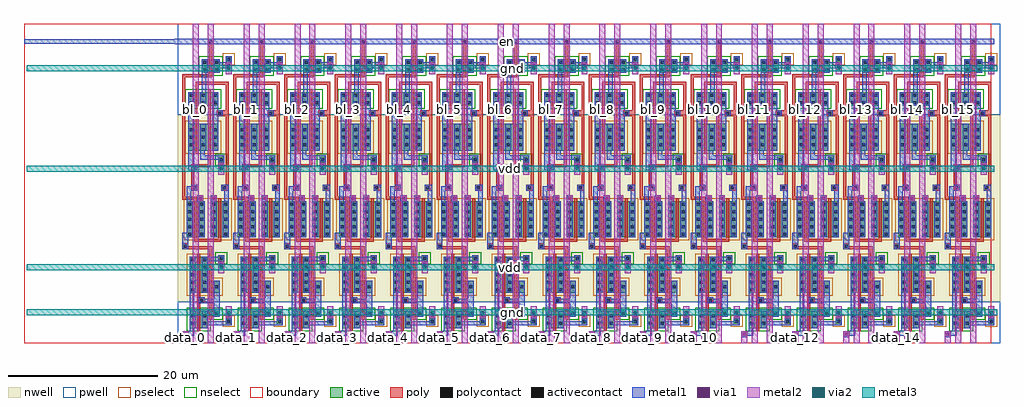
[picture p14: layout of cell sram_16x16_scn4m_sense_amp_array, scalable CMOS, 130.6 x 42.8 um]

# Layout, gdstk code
import gdstk
lib = gdstk.Library(unit=1e-6, precision=1e-09)
def R(c, l, rs):  # rectangles x0, y0, x1, y1
    for r in rs: c.add(gdstk.rectangle(r[:2], r[2:], *l))
def A(c, l, x, y, w, h, nx, ny, dx, dy):  # array of equal rectangles
    R(c, l, [(x+i*dx, y+j*dy, x+i*dx+w, y+j*dy+h) for i in range(nx) for j in range(ny)])
pwell = (41, 0)
nwell = (42, 0)
active = (43, 0)
pselect = (44, 0)
nselect = (45, 0)
poly = (46, 0)
polycontact = (47, 0)
activecontact = (48, 0)
metal1 = (49, 0)
via1 = (50, 0)
metal2 = (51, 0)
via2 = (61, 0)
metal3 = (62, 0)
boundary = (63, 0)

sense_amp = lib.new_cell('sense_amp')
R(sense_amp, pwell, [(0,0,8,5.6), (0,30.6,8,42.8)])
R(sense_amp, nwell, [(0,5.6,8,30.6)])
R(sense_amp, active, [(1.6,2,4,3.6), (6.4,2.6,7.2,3.4), (1.6,3.6,5.6,4.4), (1.6,6.8,5.6,8.4), (1.6,8.4,4,11.6), (5.4,11,6.2,11.8), (1.2,14.2,3.6,19), (4.4,14.2,6.8,19), (5.4,24.2,6.2,25), (1.4,25.8,5.4,29.4), (1.4,31.8,5.4,33.6), (3.2,36.2,5.6,38), (6.4,37.6,7.2,38.4)])
R(sense_amp, pselect, [(6,2.2,7.6,3.8), (1.2,6.4,6,8.8), (1.2,8.8,4.4,12), (0.8,13.8,7.2,19.4), (1,25.4,5.8,29.8), (6,37.2,7.6,38.8)])
R(sense_amp, nselect, [(1.2,1.6,4.4,3.2), (1.2,3.2,6,4.8), (5,10.6,6.6,12.2), (5,23.8,6.6,25.4), (1,31.4,5.8,34), (2.8,35.8,6,38.4)])
R(sense_amp, poly, [(2.6,1.6,3,5.4), (4.2,3.2,4.6,12.6), (2.6,5.4,3.6,6.2), (2.6,6.2,3,12), (0.6,12.6,4.6,13), (0.6,13,1.4,13.4), (2.2,13.6,5.8,14), (2.2,14,2.6,19.2), (5.4,14,5.8,19.4), (0.6,19.2,2.6,19.6), (0.6,19.6,1,35.6), (1.8,20.4,2.6,21.2), (5.8,20.4,6.8,21.2), (1.8,21.2,2.2,23.2), (6.4,21.2,6.8,30.4), (1.8,23.2,2.6,23.6), (1.8,23.6,4.4,24), (4,24,4.4,34), (2.4,25.4,2.8,34.6), (5.2,30.4,6.8,31.2), (6.4,31.2,6.8,34.6), (2.4,34.6,6.8,35), (0.6,35.6,4.6,36), (4.2,36,4.6,40), (4,40,4.8,40.8)])
R(sense_amp, polycontact, [(3,5.6,3.4,6), (0.8,12.8,1.2,13.2), (2,20.6,2.4,21), (6,20.6,6.4,21), (2,23.4,2.4,23.8), (5.4,30.6,5.8,31), (4.2,40.2,4.6,40.6)])
A(sense_amp, activecontact, 1.8, 7, 0.4, 0.4, 1, 5, 0, 1)
A(sense_amp, activecontact, 3.4, 7, 0.4, 0.4, 1, 5, 0, 1)
A(sense_amp, activecontact, 1.4, 14.4, 0.4, 0.4, 4, 5, 1.6, 1)
A(sense_amp, activecontact, 1.6, 26.4, 0.4, 0.4, 3, 3, 1.6, 1)
A(sense_amp, activecontact, 1.6, 32, 0.4, 0.4, 3, 2, 1.6, 1)
R(sense_amp, activecontact, [(1.8,2.5,2.2,2.9), (3.4,2.5,3.8,2.9), (6.6,2.8,7,3.2), (1.8,3.5,2.2,3.9), (3.4,3.5,3.8,3.9), (5,3.8,5.4,4.2), (5,7.4,5.4,7.8), (5.6,11.2,6,11.6), (5.6,24.4,6,24.8), (3.4,36.4,3.8,36.8), (5,36.4,5.4,36.8), (3.4,37.4,3.8,37.8), (5,37.4,5.4,37.8), (6.6,37.8,7,38.2)])
R(sense_amp, metal1, [(0.6,0.8,1.4,1), (0.6,1,2.2,1.6), (1.6,1.6,2.2,2), (1.6,2,2.4,4.4), (3.2,2,4,2.4), (3.2,2.4,7.2,3), (3.2,3,4,4.4), (6.4,3,7.2,4.2), (4.8,3.6,5.6,5.4), (1.6,4.4,2.2,6.8), (2.8,5.4,5.6,6), (2.8,6,3.6,6.2), (4.8,6,5.6,8.4), (1.6,6.8,2.4,11.6), (3.2,6.8,4,11), (5.4,10.2,6.2,11), (3.2,11,6.2,11.6), (5.4,11.6,6.2,11.8), (0.6,12.6,1.4,14.2), (0.6,14.2,2,14.8), (2.8,14.2,3.6,19), (4.4,14.2,5.2,19.8), (6,14.2,6.8,19), (1.2,14.8,2,19), (1.2,19,1.8,20.4), (2.6,19,3.4,19.8), (6.2,19,6.8,20.4), (1.2,20.4,2.6,21), (5.8,20.4,6.8,21.2), (1.8,21,2.6,21.2), (1.4,23.2,2.6,24), (5.4,23.4,6.2,24.6), (1.4,24,2.2,33.6), (3,24.6,6.2,25.2), (3,25.2,3.6,25.8), (3,25.8,3.8,29.4), (4.6,25.8,5.4,30.4), (4.6,30.4,6,31.2), (4.6,31.2,5.4,33.6), (3,31.8,3.8,33.6), (3.2,33.6,3.8,36.2), (3.2,36.2,4,38), (4.8,36.2,5.6,36.8), (4.8,36.8,7.2,37.6), (4.8,37.6,5.6,38), (6.4,37.6,7.2,38.4), (-0.4,40,7.2,40.8), (-0.4,40,7.2,40.8)])
R(sense_amp, via1, [(0.8,1,1.2,1.4), (6.6,3.6,7,4), (5.6,10.4,6,10.8), (2.8,19.2,3.2,19.6), (4.6,19.2,5,19.6), (5.6,23.6,6,24), (6.6,37,7,37.4)])
R(sense_amp, metal2, [(0.6,0,1.4,1.6), (0.6,0,1.4,1.6), (2,0,2.8,19), (4,0,4.8,19), (6.4,3.4,7.2,5), (6.4,3.4,7.2,5), (5.4,9.4,6.2,11), (5.4,9.4,6.2,11), (2,19,3.4,19.8), (4,19,5.2,19.8), (2,19.8,2.8,42.8), (2,19.8,2.8,42.8), (4,19.8,4.8,42.8), (4,19.8,4.8,42.8), (5.4,22.6,6.2,24.2), (5.4,22.6,6.2,24.2), (6.4,36,7.2,37.6), (6.4,36,7.2,37.6)])
R(sense_amp, boundary, [(0,0,6.8,42.8)])
sense_amp.add(gdstk.Label('dout', (1,0.4), layer=51, texttype=0))
sense_amp.add(gdstk.Label('vdd', (5.8,9.8), layer=51, texttype=0))
sense_amp.add(gdstk.Label('br', (4.4,42.4), layer=51, texttype=0))
sense_amp.add(gdstk.Label('bl', (2.4,42.4), layer=51, texttype=0))
sense_amp.add(gdstk.Label('vdd', (5.8,23), layer=51, texttype=0))
sense_amp.add(gdstk.Label('gnd', (6.8,36.4), layer=51, texttype=0))
sense_amp.add(gdstk.Label('en', (0,40), layer=49, texttype=0))
sense_amp.add(gdstk.Label('gnd', (6.8,4.6), layer=51, texttype=0))
sense_amp.add(gdstk.Label('bl', (2.4,31.3), layer=51, texttype=0))
sense_amp.add(gdstk.Label('br', (4.4,31.3), layer=51, texttype=0))
sense_amp.add(gdstk.Label('dout', (1,0.8), layer=51, texttype=0))
sense_amp.add(gdstk.Label('en', (3.4,40.4), layer=49, texttype=0))
sense_amp.add(gdstk.Label('vdd', (5.8,10.2), layer=51, texttype=0))
sense_amp.add(gdstk.Label('vdd', (5.8,23.4), layer=51, texttype=0))
sense_amp.add(gdstk.Label('gnd', (6.8,36.8), layer=51, texttype=0))
sense_amp.add(gdstk.Label('gnd', (6.8,4.2), layer=51, texttype=0))

sram_16x16_scn4m_contact = lib.new_cell('sram_16x16_scn4m_contact_19')
R(sram_16x16_scn4m_contact, metal2, [(0,0,0.8,0.8)])
R(sram_16x16_scn4m_contact, via2, [(0.2,0.2,0.6,0.6)])
R(sram_16x16_scn4m_contact, metal3, [(0,0,0.8,0.8)])
R(sram_16x16_scn4m_contact, boundary, [(0,0,0.8,0.8)])

sram_16x16_scn4m_sense_a = lib.new_cell('sram_16x16_scn4m_sense_amp_array')
A(sram_16x16_scn4m_sense_a, metal1, 23.7, 40.1, 0.6, 0.6, 16, 1, 6.8, 0)
R(sram_16x16_scn4m_sense_a, metal1, [(0,40.1,129.4,40.7)])
A(sram_16x16_scn4m_sense_a, metal2, 21.2, 0, 0.8, 1.6, 16, 1, 6.8, 0)
R(sram_16x16_scn4m_sense_a, metal2, [(22.6,19.8,23.4,42.8), (24.6,19.8,25.4,42.8), (29.4,19.8,30.2,42.8), (31.4,19.8,32.2,42.8), (36.2,19.8,37,42.8), (38.2,19.8,39,42.8), (43,19.8,43.8,42.8), (45,19.8,45.8,42.8), (49.8,19.8,50.6,42.8), (51.8,19.8,52.6,42.8), (56.6,19.8,57.4,42.8), (58.6,19.8,59.4,42.8), (63.4,19.8,64.2,42.8), (65.4,19.8,66.2,42.8), (70.2,19.8,71,42.8), (72.2,19.8,73,42.8), (77,19.8,77.8,42.8), (79,19.8,79.8,42.8), (83.8,19.8,84.6,42.8), (85.8,19.8,86.6,42.8), (90.6,19.8,91.4,42.8), (92.6,19.8,93.4,42.8), (97.4,19.8,98.2,42.8), (99.4,19.8,100.2,42.8), (104.2,19.8,105,42.8), (106.2,19.8,107,42.8), (111,19.8,111.8,42.8), (113,19.8,113.8,42.8), (117.8,19.8,118.6,42.8), (119.8,19.8,120.6,42.8), (124.6,19.8,125.4,42.8), (126.6,19.8,127.4,42.8)])
R(sram_16x16_scn4m_sense_a, metal3, [(0.4,3.8,130.2,4.6), (0.4,9.8,129.8,10.6), (0.4,23,129.8,23.8), (0.4,36.4,130.2,37.2)])
R(sram_16x16_scn4m_sense_a, boundary, [(0,0,129.4,42.8)])
sram_16x16_scn4m_sense_a.add(gdstk.Reference(sense_amp, (20.6,0)))
sram_16x16_scn4m_sense_a.add(gdstk.Reference(sense_amp, (27.4,0)))
sram_16x16_scn4m_sense_a.add(gdstk.Reference(sense_amp, (34.2,0)))
sram_16x16_scn4m_sense_a.add(gdstk.Reference(sense_amp, (41,0)))
sram_16x16_scn4m_sense_a.add(gdstk.Reference(sense_amp, (47.8,0)))
sram_16x16_scn4m_sense_a.add(gdstk.Reference(sense_amp, (54.6,0)))
sram_16x16_scn4m_sense_a.add(gdstk.Reference(sense_amp, (61.4,0)))
sram_16x16_scn4m_sense_a.add(gdstk.Reference(sense_amp, (68.2,0)))
sram_16x16_scn4m_sense_a.add(gdstk.Reference(sense_amp, (75,0)))
sram_16x16_scn4m_sense_a.add(gdstk.Reference(sense_amp, (81.8,0)))
sram_16x16_scn4m_sense_a.add(gdstk.Reference(sense_amp, (88.6,0)))
sram_16x16_scn4m_sense_a.add(gdstk.Reference(sense_amp, (95.4,0)))
sram_16x16_scn4m_sense_a.add(gdstk.Reference(sense_amp, (102.2,0)))
sram_16x16_scn4m_sense_a.add(gdstk.Reference(sense_amp, (109,0)))
sram_16x16_scn4m_sense_a.add(gdstk.Reference(sense_amp, (115.8,0)))
sram_16x16_scn4m_sense_a.add(gdstk.Reference(sense_amp, (122.6,0)))
sram_16x16_scn4m_sense_a.add(gdstk.Reference(sram_16x16_scn4m_contact, (26,9.8)))
sram_16x16_scn4m_sense_a.add(gdstk.Reference(sram_16x16_scn4m_contact, (32.8,9.8)))
sram_16x16_scn4m_sense_a.add(gdstk.Reference(sram_16x16_scn4m_contact, (39.6,9.8)))
sram_16x16_scn4m_sense_a.add(gdstk.Reference(sram_16x16_scn4m_contact, (46.4,9.8)))
sram_16x16_scn4m_sense_a.add(gdstk.Reference(sram_16x16_scn4m_contact, (53.2,9.8)))
sram_16x16_scn4m_sense_a.add(gdstk.Reference(sram_16x16_scn4m_contact, (60,9.8)))
sram_16x16_scn4m_sense_a.add(gdstk.Reference(sram_16x16_scn4m_contact, (66.8,9.8)))
sram_16x16_scn4m_sense_a.add(gdstk.Reference(sram_16x16_scn4m_contact, (73.6,9.8)))
sram_16x16_scn4m_sense_a.add(gdstk.Reference(sram_16x16_scn4m_contact, (80.4,9.8)))
sram_16x16_scn4m_sense_a.add(gdstk.Reference(sram_16x16_scn4m_contact, (87.2,9.8)))
sram_16x16_scn4m_sense_a.add(gdstk.Reference(sram_16x16_scn4m_contact, (94,9.8)))
sram_16x16_scn4m_sense_a.add(gdstk.Reference(sram_16x16_scn4m_contact, (100.8,9.8)))
sram_16x16_scn4m_sense_a.add(gdstk.Reference(sram_16x16_scn4m_contact, (107.6,9.8)))
sram_16x16_scn4m_sense_a.add(gdstk.Reference(sram_16x16_scn4m_contact, (114.4,9.8)))
sram_16x16_scn4m_sense_a.add(gdstk.Reference(sram_16x16_scn4m_contact, (121.2,9.8)))
sram_16x16_scn4m_sense_a.add(gdstk.Reference(sram_16x16_scn4m_contact, (128,9.8)))
sram_16x16_scn4m_sense_a.add(gdstk.Reference(sram_16x16_scn4m_contact, (26,23)))
sram_16x16_scn4m_sense_a.add(gdstk.Reference(sram_16x16_scn4m_contact, (32.8,23)))
sram_16x16_scn4m_sense_a.add(gdstk.Reference(sram_16x16_scn4m_contact, (39.6,23)))
sram_16x16_scn4m_sense_a.add(gdstk.Reference(sram_16x16_scn4m_contact, (46.4,23)))
sram_16x16_scn4m_sense_a.add(gdstk.Reference(sram_16x16_scn4m_contact, (53.2,23)))
sram_16x16_scn4m_sense_a.add(gdstk.Reference(sram_16x16_scn4m_contact, (60,23)))
sram_16x16_scn4m_sense_a.add(gdstk.Reference(sram_16x16_scn4m_contact, (66.8,23)))
sram_16x16_scn4m_sense_a.add(gdstk.Reference(sram_16x16_scn4m_contact, (73.6,23)))
sram_16x16_scn4m_sense_a.add(gdstk.Reference(sram_16x16_scn4m_contact, (80.4,23)))
sram_16x16_scn4m_sense_a.add(gdstk.Reference(sram_16x16_scn4m_contact, (87.2,23)))
sram_16x16_scn4m_sense_a.add(gdstk.Reference(sram_16x16_scn4m_contact, (94,23)))
sram_16x16_scn4m_sense_a.add(gdstk.Reference(sram_16x16_scn4m_contact, (100.8,23)))
sram_16x16_scn4m_sense_a.add(gdstk.Reference(sram_16x16_scn4m_contact, (107.6,23)))
sram_16x16_scn4m_sense_a.add(gdstk.Reference(sram_16x16_scn4m_contact, (114.4,23)))
sram_16x16_scn4m_sense_a.add(gdstk.Reference(sram_16x16_scn4m_contact, (121.2,23)))
sram_16x16_scn4m_sense_a.add(gdstk.Reference(sram_16x16_scn4m_contact, (128,23)))
sram_16x16_scn4m_sense_a.add(gdstk.Reference(sram_16x16_scn4m_contact, (27,36.4)))
sram_16x16_scn4m_sense_a.add(gdstk.Reference(sram_16x16_scn4m_contact, (33.8,36.4)))
sram_16x16_scn4m_sense_a.add(gdstk.Reference(sram_16x16_scn4m_contact, (40.6,36.4)))
sram_16x16_scn4m_sense_a.add(gdstk.Reference(sram_16x16_scn4m_contact, (47.4,36.4)))
sram_16x16_scn4m_sense_a.add(gdstk.Reference(sram_16x16_scn4m_contact, (54.2,36.4)))
sram_16x16_scn4m_sense_a.add(gdstk.Reference(sram_16x16_scn4m_contact, (61,36.4)))
sram_16x16_scn4m_sense_a.add(gdstk.Reference(sram_16x16_scn4m_contact, (67.8,36.4)))
sram_16x16_scn4m_sense_a.add(gdstk.Reference(sram_16x16_scn4m_contact, (74.6,36.4)))
sram_16x16_scn4m_sense_a.add(gdstk.Reference(sram_16x16_scn4m_contact, (81.4,36.4)))
sram_16x16_scn4m_sense_a.add(gdstk.Reference(sram_16x16_scn4m_contact, (88.2,36.4)))
sram_16x16_scn4m_sense_a.add(gdstk.Reference(sram_16x16_scn4m_contact, (95,36.4)))
sram_16x16_scn4m_sense_a.add(gdstk.Reference(sram_16x16_scn4m_contact, (101.8,36.4)))
sram_16x16_scn4m_sense_a.add(gdstk.Reference(sram_16x16_scn4m_contact, (108.6,36.4)))
sram_16x16_scn4m_sense_a.add(gdstk.Reference(sram_16x16_scn4m_contact, (115.4,36.4)))
sram_16x16_scn4m_sense_a.add(gdstk.Reference(sram_16x16_scn4m_contact, (122.2,36.4)))
sram_16x16_scn4m_sense_a.add(gdstk.Reference(sram_16x16_scn4m_contact, (129,36.4)))
sram_16x16_scn4m_sense_a.add(gdstk.Reference(sram_16x16_scn4m_contact, (27,3.8)))
sram_16x16_scn4m_sense_a.add(gdstk.Reference(sram_16x16_scn4m_contact, (33.8,3.8)))
sram_16x16_scn4m_sense_a.add(gdstk.Reference(sram_16x16_scn4m_contact, (40.6,3.8)))
sram_16x16_scn4m_sense_a.add(gdstk.Reference(sram_16x16_scn4m_contact, (47.4,3.8)))
sram_16x16_scn4m_sense_a.add(gdstk.Reference(sram_16x16_scn4m_contact, (54.2,3.8)))
sram_16x16_scn4m_sense_a.add(gdstk.Reference(sram_16x16_scn4m_contact, (61,3.8)))
sram_16x16_scn4m_sense_a.add(gdstk.Reference(sram_16x16_scn4m_contact, (67.8,3.8)))
sram_16x16_scn4m_sense_a.add(gdstk.Reference(sram_16x16_scn4m_contact, (74.6,3.8)))
sram_16x16_scn4m_sense_a.add(gdstk.Reference(sram_16x16_scn4m_contact, (81.4,3.8)))
sram_16x16_scn4m_sense_a.add(gdstk.Reference(sram_16x16_scn4m_contact, (88.2,3.8)))
sram_16x16_scn4m_sense_a.add(gdstk.Reference(sram_16x16_scn4m_contact, (95,3.8)))
sram_16x16_scn4m_sense_a.add(gdstk.Reference(sram_16x16_scn4m_contact, (101.8,3.8)))
sram_16x16_scn4m_sense_a.add(gdstk.Reference(sram_16x16_scn4m_contact, (108.6,3.8)))
sram_16x16_scn4m_sense_a.add(gdstk.Reference(sram_16x16_scn4m_contact, (115.4,3.8)))
sram_16x16_scn4m_sense_a.add(gdstk.Reference(sram_16x16_scn4m_contact, (122.2,3.8)))
sram_16x16_scn4m_sense_a.add(gdstk.Reference(sram_16x16_scn4m_contact, (129,3.8)))
sram_16x16_scn4m_sense_a.add(gdstk.Label('bl_0', (23,31.3), layer=51, texttype=0))
sram_16x16_scn4m_sense_a.add(gdstk.Label('br_0', (25,31.3), layer=51, texttype=0))
sram_16x16_scn4m_sense_a.add(gdstk.Label('data_0', (21.6,0.8), layer=51, texttype=0))
sram_16x16_scn4m_sense_a.add(gdstk.Label('bl_1', (29.8,31.3), layer=51, texttype=0))
sram_16x16_scn4m_sense_a.add(gdstk.Label('br_1', (31.8,31.3), layer=51, texttype=0))
sram_16x16_scn4m_sense_a.add(gdstk.Label('data_1', (28.4,0.8), layer=51, texttype=0))
sram_16x16_scn4m_sense_a.add(gdstk.Label('bl_2', (36.6,31.3), layer=51, texttype=0))
sram_16x16_scn4m_sense_a.add(gdstk.Label('br_2', (38.6,31.3), layer=51, texttype=0))
sram_16x16_scn4m_sense_a.add(gdstk.Label('data_2', (35.2,0.8), layer=51, texttype=0))
sram_16x16_scn4m_sense_a.add(gdstk.Label('bl_3', (43.4,31.3), layer=51, texttype=0))
sram_16x16_scn4m_sense_a.add(gdstk.Label('br_3', (45.4,31.3), layer=51, texttype=0))
sram_16x16_scn4m_sense_a.add(gdstk.Label('data_3', (42,0.8), layer=51, texttype=0))
sram_16x16_scn4m_sense_a.add(gdstk.Label('bl_4', (50.2,31.3), layer=51, texttype=0))
sram_16x16_scn4m_sense_a.add(gdstk.Label('br_4', (52.2,31.3), layer=51, texttype=0))
sram_16x16_scn4m_sense_a.add(gdstk.Label('data_4', (48.8,0.8), layer=51, texttype=0))
sram_16x16_scn4m_sense_a.add(gdstk.Label('bl_5', (57,31.3), layer=51, texttype=0))
sram_16x16_scn4m_sense_a.add(gdstk.Label('br_5', (59,31.3), layer=51, texttype=0))
sram_16x16_scn4m_sense_a.add(gdstk.Label('data_5', (55.6,0.8), layer=51, texttype=0))
sram_16x16_scn4m_sense_a.add(gdstk.Label('bl_6', (63.8,31.3), layer=51, texttype=0))
sram_16x16_scn4m_sense_a.add(gdstk.Label('br_6', (65.8,31.3), layer=51, texttype=0))
sram_16x16_scn4m_sense_a.add(gdstk.Label('data_6', (62.4,0.8), layer=51, texttype=0))
sram_16x16_scn4m_sense_a.add(gdstk.Label('bl_7', (70.6,31.3), layer=51, texttype=0))
sram_16x16_scn4m_sense_a.add(gdstk.Label('br_7', (72.6,31.3), layer=51, texttype=0))
sram_16x16_scn4m_sense_a.add(gdstk.Label('data_7', (69.2,0.8), layer=51, texttype=0))
sram_16x16_scn4m_sense_a.add(gdstk.Label('bl_8', (77.4,31.3), layer=51, texttype=0))
sram_16x16_scn4m_sense_a.add(gdstk.Label('br_8', (79.4,31.3), layer=51, texttype=0))
sram_16x16_scn4m_sense_a.add(gdstk.Label('data_8', (76,0.8), layer=51, texttype=0))
sram_16x16_scn4m_sense_a.add(gdstk.Label('bl_9', (84.2,31.3), layer=51, texttype=0))
sram_16x16_scn4m_sense_a.add(gdstk.Label('br_9', (86.2,31.3), layer=51, texttype=0))
sram_16x16_scn4m_sense_a.add(gdstk.Label('data_9', (82.8,0.8), layer=51, texttype=0))
sram_16x16_scn4m_sense_a.add(gdstk.Label('bl_10', (91,31.3), layer=51, texttype=0))
sram_16x16_scn4m_sense_a.add(gdstk.Label('br_10', (93,31.3), layer=51, texttype=0))
sram_16x16_scn4m_sense_a.add(gdstk.Label('data_10', (89.6,0.8), layer=51, texttype=0))
sram_16x16_scn4m_sense_a.add(gdstk.Label('bl_11', (97.8,31.3), layer=51, texttype=0))
sram_16x16_scn4m_sense_a.add(gdstk.Label('br_11', (99.8,31.3), layer=51, texttype=0))
sram_16x16_scn4m_sense_a.add(gdstk.Label('data_11', (96.4,0.8), layer=51, texttype=0))
sram_16x16_scn4m_sense_a.add(gdstk.Label('bl_12', (104.6,31.3), layer=51, texttype=0))
sram_16x16_scn4m_sense_a.add(gdstk.Label('br_12', (106.6,31.3), layer=51, texttype=0))
sram_16x16_scn4m_sense_a.add(gdstk.Label('data_12', (103.2,0.8), layer=51, texttype=0))
sram_16x16_scn4m_sense_a.add(gdstk.Label('bl_13', (111.4,31.3), layer=51, texttype=0))
sram_16x16_scn4m_sense_a.add(gdstk.Label('br_13', (113.4,31.3), layer=51, texttype=0))
sram_16x16_scn4m_sense_a.add(gdstk.Label('data_13', (110,0.8), layer=51, texttype=0))
sram_16x16_scn4m_sense_a.add(gdstk.Label('bl_14', (118.2,31.3), layer=51, texttype=0))
sram_16x16_scn4m_sense_a.add(gdstk.Label('br_14', (120.2,31.3), layer=51, texttype=0))
sram_16x16_scn4m_sense_a.add(gdstk.Label('data_14', (116.8,0.8), layer=51, texttype=0))
sram_16x16_scn4m_sense_a.add(gdstk.Label('bl_15', (125,31.3), layer=51, texttype=0))
sram_16x16_scn4m_sense_a.add(gdstk.Label('br_15', (127,31.3), layer=51, texttype=0))
sram_16x16_scn4m_sense_a.add(gdstk.Label('data_15', (123.6,0.8), layer=51, texttype=0))
sram_16x16_scn4m_sense_a.add(gdstk.Label('vdd', (65.1,10.2), layer=62, texttype=0))
sram_16x16_scn4m_sense_a.add(gdstk.Label('vdd', (65.1,23.4), layer=62, texttype=0))
sram_16x16_scn4m_sense_a.add(gdstk.Label('gnd', (65.3,36.8), layer=62, texttype=0))
sram_16x16_scn4m_sense_a.add(gdstk.Label('gnd', (65.3,4.2), layer=62, texttype=0))
sram_16x16_scn4m_sense_a.add(gdstk.Label('en', (64.7,40.4), layer=49, texttype=0))

lib.write_gds('sram_16x16_scn4m_sense_amp_array.gds')
